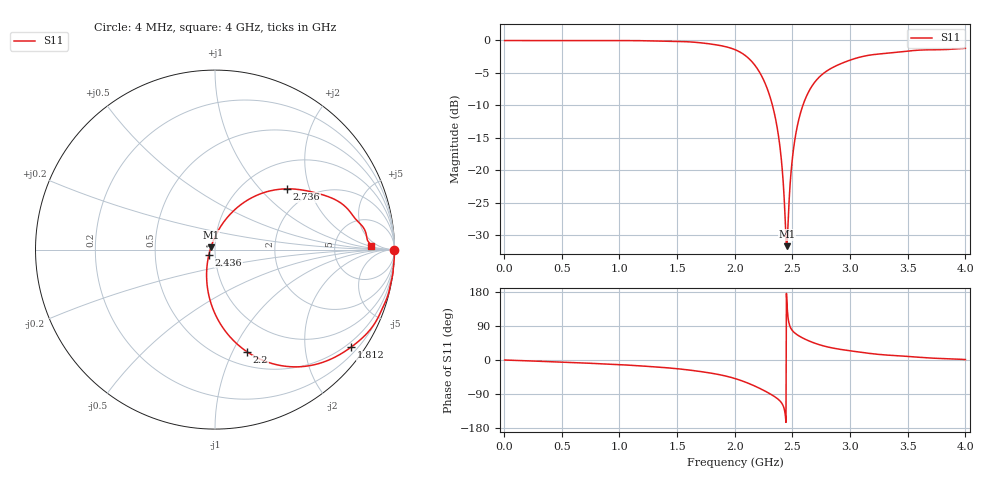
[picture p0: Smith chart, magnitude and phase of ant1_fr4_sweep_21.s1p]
! TOUCHSTONE file generated by CST MICROWAVE STUDIO
! Date and time: Fri May  6 15:39:00 2022
! Project name: ant1_ceramic_sweep_fr4.cst
! Parameters = {e=0.035; h=1.6; i=0.8; l1=0.5; l2=20.96; ls=80; wl=1.7; ws=33}
! Header version: 2018
! Port assignment regex: !\s*Touchstone port\s*([0-9]+)\s*=\s*(CST MWS port|CST DS port)\s*([0-9]+|Zmin|Zmax)\s*\(\"(.*)\"\)(\s*mode\s*([0-9]+))?.*
! Touchstone port assignment:
! Touchstone port 1 = CST MWS port 1 ("")
# GHz S DB R 50
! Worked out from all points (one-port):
!   1000 points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, 4 MHz to 4 GHz, reference 50 ohm
!   lowest |S11| = -31.7 dB at 2.452 GHz (marker M1), VSWR 1.05, Z = 47.7 + j1.13 ohm
!   |S11| at or under -10 dB: 2.327 GHz to 2.591 GHz (263.8 MHz wide, 10.7 % of centre)
!   S11 on the Smith chart (normalised r, x): 4 MHz: open; 1.812 GHz: 0.37, -3.08; 2.2 GHz: 0.64, -1.14; 2.436 GHz: 0.93, -0.05; 2.736 GHz: 1.53, +1.43; 4 GHz: 14, +2
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0.004  -0.01 -0.0
0.504  -0.01 -5.6
1.004  -0.02 -12.3
1.504  -0.14 -23.1
1.812  -0.60 -35.6
2.004  -1.43 -49.1
2.108  -2.56 -60.3
2.2  -4.46 -72.5
2.292  -7.94 -86.9
2.36  -12.66 -99.7
2.384  -15.30 -105.7
2.404  -18.35 -112.3
2.416  -20.82 -118.3
2.436  -27.08 -140.4
2.444  -30.43 -164.6
2.452  -31.69 152.8
2.464  -27.35 107.6
2.488  -20.31 82.7
2.504  -17.49 76.1
2.54  -13.40 66.8
2.592  -9.93 57.6
2.656  -7.41 48.8
2.736  -5.58 40.1
2.848  -4.18 31.7
3.004  -3.00 24.1
3.188  -2.21 16.7
3.504  -1.63 9.4
4  -1.21 1.2
